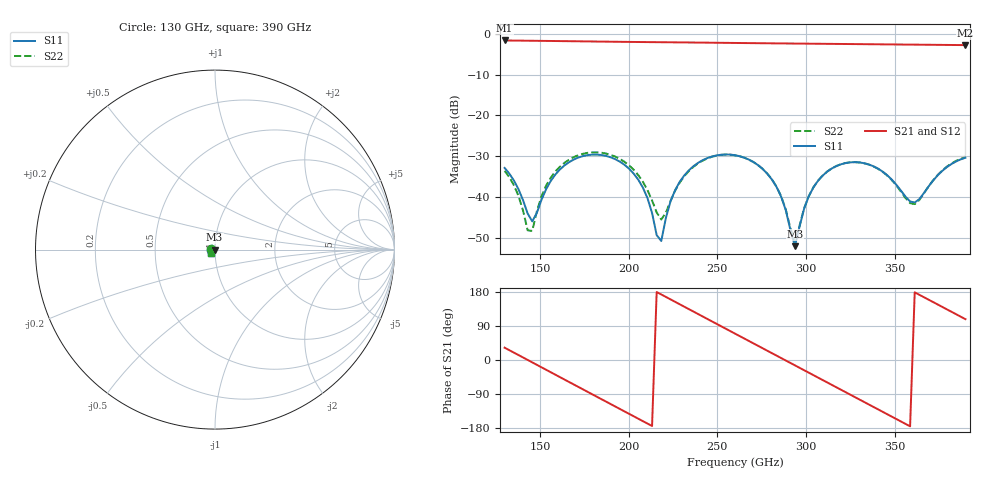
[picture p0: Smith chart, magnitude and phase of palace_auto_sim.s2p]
#  GHZ S DB R 50
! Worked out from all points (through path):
!   101 points, 130 GHz to 390 GHz, reference 50 ohm
!   highest |S21| = -1.69 dB at 130 GHz (marker M1); lowest = -2.8 dB at 390 GHz (marker M2)
!   group delay of S21, straight-line fit = 6.89 ps
!   lowest |S11| = -51.9 dB at 293.8 GHz (marker M3), VSWR 1.01, Z = 49.8 - j0.0973 ohm
!   |S11| at or under -10 dB: start of sweep to end of sweep
!   |S22| runs from -51.1 to -29.0 dB; largest |S21 - S12| = 9.2e-14
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130  -32.80 -179.7  -1.69 32.5  -1.69 32.5  -33.51 177.4
137.8  -37.96 171.1  -1.73 13.1  -1.73 13.1  -39.58 167.0
143  -43.92 -172.7  -1.76 0.2  -1.76 0.2  -48.03 -166.3
145.6  -45.84 -141.3  -1.77 -6.3  -1.77 -6.3  -48.17 -112.2
156  -36.01 -97.9  -1.82 -32.2  -1.82 -32.2  -35.21 -89.4
174.2  -29.91 -133.7  -1.91 -77.5  -1.91 -77.5  -29.35 -128.9
187.2  -29.87 -164.4  -1.98 -109.7  -1.98 -109.7  -29.29 -159.4
202.8  -34.17 160.4  -2.06 -148.4  -2.06 -148.4  -33.23 168.1
210.6  -40.14 149.0  -2.09 -167.8  -2.09 -167.8  -38.19 160.8
218.4  -50.63 -127.9  -2.12 172.9  -2.12 172.9  -45.39 -154.2
223.6  -40.99 -94.9  -2.14 160.0  -2.14 160.0  -40.87 -112.7
231.4  -34.62 -104.7  -2.17 140.6  -2.17 140.6  -34.81 -111.9
247  -30.01 -138.4  -2.24 101.9  -2.24 101.9  -30.09 -140.9
260  -29.69 -168.2  -2.30 69.6  -2.30 69.6  -29.71 -169.5
280.8  -35.62 147.3  -2.39 18.1  -2.39 18.1  -35.57 147.3
288.6  -43.02 141.1  -2.42 -1.2  -2.42 -1.2  -42.85 142.1
293.8  -51.90 -157.4  -2.45 -14.1  -2.45 -14.1  -51.09 -159.2
304.2  -37.59 -107.5  -2.49 -39.8  -2.49 -39.8  -37.55 -109.0
325  -31.44 -148.0  -2.57 -91.3  -2.57 -91.3  -31.43 -148.8
348.4  -35.61 175.2  -2.66 -149.3  -2.66 -149.3  -35.74 174.1
361.4  -41.26 -149.3  -2.71 178.6  -2.71 178.6  -41.63 -147.5
390  -30.32 -143.3  -2.83 107.8  -2.83 107.8  -30.15 -141.9
